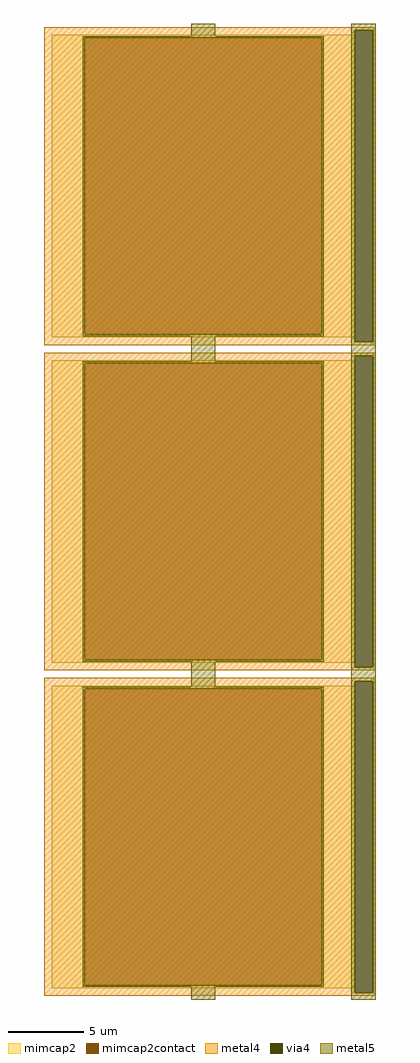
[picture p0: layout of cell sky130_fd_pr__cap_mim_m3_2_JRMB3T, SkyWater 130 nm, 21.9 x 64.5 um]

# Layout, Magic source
magic
tech sky130A
magscale 1 2
<< metal4 >>
rect -2179 6359 2179 6400
rect -2179 2241 1923 6359
rect 2159 2241 2179 6359
rect -2179 2200 2179 2241
rect -2179 2059 2179 2100
rect -2179 -2059 1923 2059
rect 2159 -2059 2179 2059
rect -2179 -2100 2179 -2059
rect -2179 -2241 2179 -2200
rect -2179 -6359 1923 -2241
rect 2159 -6359 2179 -2241
rect -2179 -6400 2179 -6359
<< via4 >>
rect 1923 2241 2159 6359
rect 1923 -2059 2159 2059
rect 1923 -6359 2159 -2241
<< mimcap2 >>
rect -2079 6260 1921 6300
rect -2079 2340 -1647 6260
rect 1489 2340 1921 6260
rect -2079 2300 1921 2340
rect -2079 1960 1921 2000
rect -2079 -1960 -1647 1960
rect 1489 -1960 1921 1960
rect -2079 -2000 1921 -1960
rect -2079 -2340 1921 -2300
rect -2079 -6260 -1647 -2340
rect 1489 -6260 1921 -2340
rect -2079 -6300 1921 -6260
<< mimcap2contact >>
rect -1647 2340 1489 6260
rect -1647 -1960 1489 1960
rect -1647 -6260 1489 -2340
<< metal5 >>
rect -239 6284 81 6450
rect 1881 6359 2201 6450
rect -1671 6260 1513 6284
rect -1671 2340 -1647 6260
rect 1489 2340 1513 6260
rect -1671 2316 1513 2340
rect -239 1984 81 2316
rect 1881 2241 1923 6359
rect 2159 2241 2201 6359
rect 1881 2059 2201 2241
rect -1671 1960 1513 1984
rect -1671 -1960 -1647 1960
rect 1489 -1960 1513 1960
rect -1671 -1984 1513 -1960
rect -239 -2316 81 -1984
rect 1881 -2059 1923 2059
rect 2159 -2059 2201 2059
rect 1881 -2241 2201 -2059
rect -1671 -2340 1513 -2316
rect -1671 -6260 -1647 -2340
rect 1489 -6260 1513 -2340
rect -1671 -6284 1513 -6260
rect -239 -6450 81 -6284
rect 1881 -6359 1923 -2241
rect 2159 -6359 2201 -2241
rect 1881 -6450 2201 -6359
<< properties >>
string FIXED_BBOX -2179 2200 2021 6400
string gencell sky130_fd_pr__cap_mim_m3_2
string library sky130
string parameters w 20 l 20 val 815.2 carea 2.00 cperi 0.19 nx 1 ny 3 dummy 0 square 0 lmin 2.00 wmin 2.00 lmax 30.0 wmax 30.0 dc 0 bconnect 1 tconnect 1 ccov 80
<< end >>
